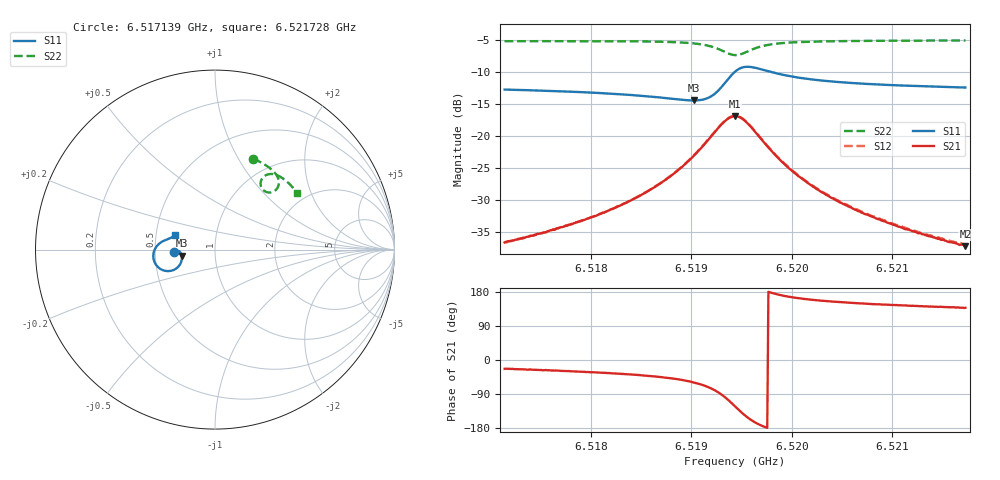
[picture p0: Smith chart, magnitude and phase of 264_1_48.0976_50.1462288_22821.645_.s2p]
#  HZ  S  RI  R  50.00
! Rohde & Schwarz Vector Network Analyzer
! Rohde-Schwarz,ZNB20-2Port,1311601062101988,3.16
! Created: UTC 12/23/2023, 4:01:05 AM
! freq[Hz]  re:S11  im:S11  re:S21  im:S21  re:S12  im:S12  re:S22  im:S22
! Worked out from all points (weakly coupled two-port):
!   401 points, 6.517139 GHz to 6.521728 GHz, reference 50 ohm
!   highest |S21| = -16.95 dB at 6.519434 GHz (marker M1); lowest = -37.3 dB at 6.521728 GHz (marker M2)
!   lowest |S11| = -14.5 dB at 6.519021 GHz (marker M3), VSWR 1.47, Z = 34.3 - j2.46 ohm
!   |S11| at or under -10 dB: start of sweep to 6.519433 GHz; 6.519787 GHz to end of sweep
!   |S22| runs from -7.4 to -5.1 dB; largest |S21 - S12| = 0.0043
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6.5171394e9  -0.2292 -0.0142  0.0134 -0.00579  0.0137 -0.00521  0.2132 0.5055
6.5175409e9  -0.2246 -0.00849  0.0157 -0.00792  0.0159 -0.00741  0.2427 0.4922
6.5179081e9  -0.2191 -0.00461  0.0186 -0.0113  0.0188 -0.0105  0.2696 0.478
6.5183096e9  -0.2106 -0.00302  0.0231 -0.0174  0.0238 -0.0166  0.3 0.4586
6.5186767e9  -0.1994 -0.00838  0.0298 -0.0293  0.0308 -0.0285  0.3284 0.4337
6.5188488e9  -0.1922 -0.0168  0.0335 -0.0401  0.0349 -0.0395  0.3418 0.4167
6.5190209e9  -0.1855 -0.0346  0.0357 -0.0595  0.0377 -0.0587  0.353 0.3924
6.5191241e9  -0.1849 -0.0538  0.0328 -0.0779  0.0356 -0.0776  0.3558 0.3714
6.5192159e9  -0.1926 -0.0787  0.0222 -0.1005  0.0253 -0.1007  0.3501 0.348
6.5193421e9  -0.2368 -0.1158  -0.0228 -0.1298  -0.0192 -0.1315  0.3155 0.3195
6.5194339e9  -0.2961 -0.112  -0.0758 -0.1201  -0.0728 -0.1233  0.2742 0.3273
6.5194912e9  -0.3269 -0.0869  -0.1003 -0.0948  -0.0984 -0.0984  0.2574 0.349
6.5195601e9  -0.3429 -0.0474  -0.11 -0.0587  -0.1093 -0.0623  0.255 0.3785
6.5196518e9  -0.3376 -0.00439  -0.1008 -0.0227  -0.101 -0.0258  0.2708 0.4059
6.5197436e9  -0.3223 0.0215  -0.0847 -0.00284  -0.0853 -0.00551  0.2917 0.418
6.5199501e9  -0.2919 0.046  -0.0564 0.012  -0.0573 0.0105  0.3294 0.4196
6.5202025e9  -0.2696 0.0561  -0.0378 0.0146  -0.0386 0.0138  0.3598 0.408
6.5205008e9  -0.2542 0.062  -0.0262 0.0136  -0.0269 0.0131  0.3856 0.3912
6.5207188e9  -0.2466 0.0653  -0.0211 0.0127  -0.0219 0.0124  0.4012 0.3783
6.5209712e9  -0.2395 0.0688  -0.0171 0.0117  -0.0176 0.0114  0.4172 0.3633
6.5212809e9  -0.2329 0.0731  -0.0137 0.0106  -0.0139 0.0103  0.4346 0.3444
6.5217283e9  -0.2248 0.079  -0.0101 0.00919  -0.0106 0.00924  0.457 0.3167
